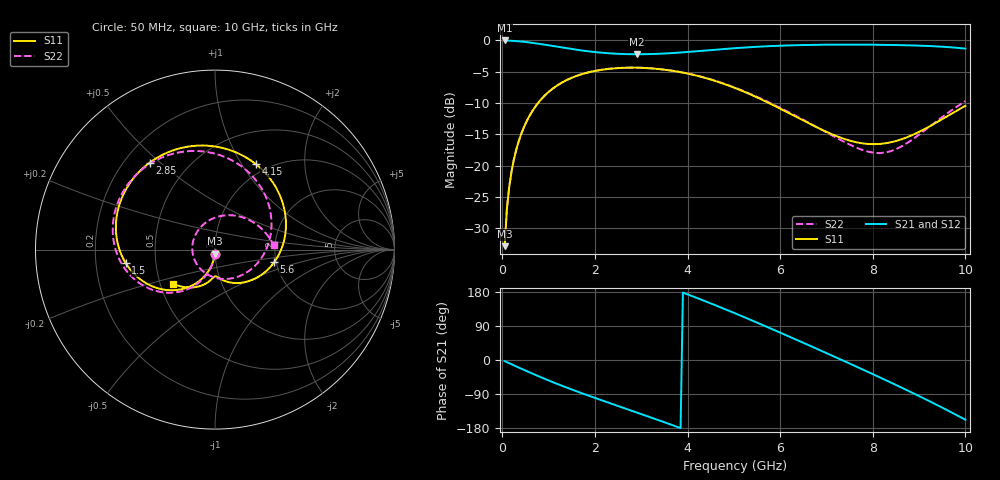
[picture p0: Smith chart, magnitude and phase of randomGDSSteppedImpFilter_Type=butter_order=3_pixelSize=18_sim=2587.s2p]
! freq	dB(S11)	phase(S11)	dB(S12)	phase(S12)
!  dB(S21)	phase(S21)	dB(S22)	phase(S22)
!S-par simulation data
#  GHz  S  DB  R 50
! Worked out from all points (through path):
!   200 points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, 50 MHz to 10 GHz, reference 50 ohm
!   highest |S21| = 0.00 dB at 50 MHz (marker M1); lowest = -2.2 dB at 2.9 GHz (marker M2)
!   group delay of S21, straight-line fit = 140 ps
!   lowest |S11| = -32.9 dB at 50 MHz (marker M3), VSWR 1.05, Z = 49.8 - j2.26 ohm
!   |S11| at or under -10 dB: start of sweep to 773.1 MHz; 5.757 GHz to end of sweep
!   |S22| runs from -32.9 to -4.3 dB; largest |S21 - S12| = 0
!   S11 on the Smith chart (normalised r, x): 50 MHz: 1.00, -0.05; 1.5 GHz: 0.33, -0.07; 2.85 GHz: 0.30, +0.46; 4.15 GHz: 0.87, +1.15; 5.6 GHz: 1.95, -0.31; 10 GHz: 0.59, -0.25
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0.05  -32.88 -93.0  -0.00 -2.9  -0.00 -2.9  -32.87 -92.8
0.1  -26.88 -96.1  -0.02 -5.7  -0.02 -5.7  -26.87 -95.7
0.2  -20.93 -102.1  -0.05 -11.3  -0.05 -11.3  -20.92 -101.4
0.45  -14.16 -116.6  -0.21 -25.2  -0.21 -25.2  -14.16 -114.9
0.95  -8.57 -143.9  -0.72 -51.5  -0.72 -51.5  -8.57 -140.2
1.5  -5.97 -171.4  -1.37 -77.9  -1.37 -77.9  -5.97 -165.5
1.75  -5.32 176.8  -1.64 -89.1  -1.64 -89.1  -5.32 -176.1
2.3  -4.54 151.7  -2.05 -112.8  -2.05 -112.8  -4.54 161.6
2.85  -4.35 126.9  -2.21 -136.1  -2.21 -136.1  -4.35 140.0
2.9  -4.36 124.6  -2.21 -138.2  -2.21 -138.2  -4.35 138.1
3.4  -4.59 101.5  -2.13 -159.7  -2.13 -159.7  -4.58 118.5
4.15  -5.55 64.6  -1.76 166.2  -1.76 166.2  -5.52 88.0
5.05  -7.67 17.2  -1.23 122.0  -1.23 122.0  -7.61 48.8
5.6  -9.44 -12.0  -0.97 93.5  -0.97 93.5  -9.34 22.7
6.15  -11.46 -39.2  -0.80 64.3  -0.80 64.3  -11.32 -6.0
6.7  -13.55 -61.8  -0.71 34.6  -0.71 34.6  -13.48 -39.5
7.5  -16.00 -82.5  -0.67 -9.3  -0.67 -9.3  -16.64 -102.8
8.35  -16.34 -92.2  -0.72 -57.2  -0.72 -57.2  -17.77 163.6
8.75  -15.44 -97.3  -0.78 -80.4  -0.78 -80.4  -16.36 117.5
9.15  -14.04 -105.9  -0.87 -104.2  -0.87 -104.2  -14.21 76.7
9.55  -12.37 -119.2  -1.03 -128.8  -1.03 -128.8  -11.97 40.7
10  -10.45 -140.5  -1.31 -157.7  -1.31 -157.7  -9.70 4.3
